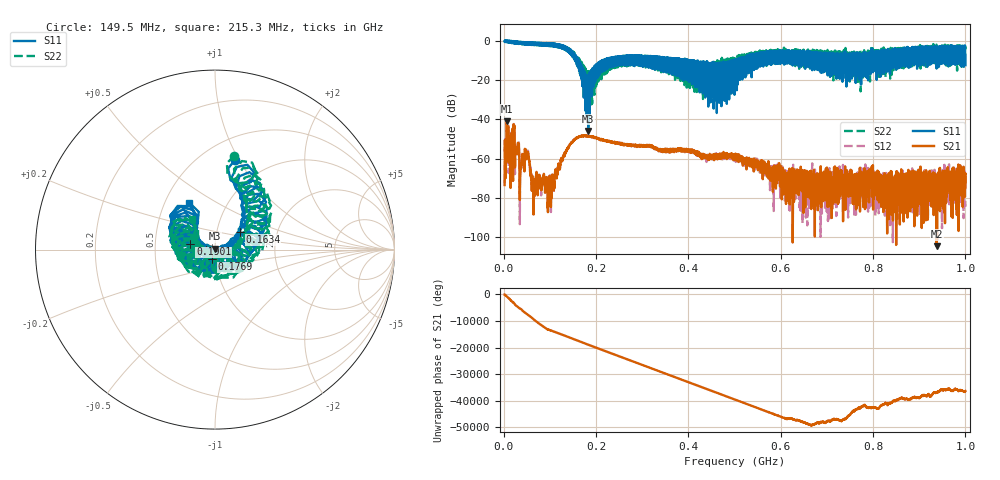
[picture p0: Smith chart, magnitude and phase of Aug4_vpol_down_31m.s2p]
!Keysight Technologies N9923A: A.12.45
!Date: Tuesday, 05 August 2025 20:55:05
!Timezone: (UTC+08:00) Kuala Lumpur, Singapore
!Model: N9923A
!Serial: MY61181427
!GPS Latitude:
!GPS Longitude:
!GPS TimeStamp: 0001-01-01 00:00:00Z
!GPS Seconds Since Last Read: 0
!CHECKSUM:0442938834
!Correction: S11(ON U)S21(ON U)S12(ON U)S22(ON U)
!S2P File: Measurements:S11,S21,S12,S22:
# Hz S DB R 50
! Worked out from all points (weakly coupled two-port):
!   4001 points, 2 MHz to 1 GHz, reference 50 ohm
!   highest |S21| = -41.05 dB at 6.74 MHz (marker M1); lowest = -104.7 dB at 937.6 MHz (marker M2)
!   lowest |S11| = -46.0 dB at 183.1 MHz (marker M3), VSWR 1.01, Z = 49.9 + j0.488 ohm
!   |S11| at or under -10 dB: 162.7 MHz to 213.8 MHz (51.05 MHz wide, 27.1 % of centre); 405.5 MHz to 410.4 MHz (4.935 MHz wide, 1.21 % of centre); 412.2 MHz to 494 MHz (81.78 MHz wide, 18 % of centre)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
!   |S22| runs from -35.0 to 0.1 dB; largest |S21 - S12| = 0.00094
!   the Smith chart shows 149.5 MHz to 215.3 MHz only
!   S11 on the Smith chart (normalised r, x): 149.5 MHz: 0.71, +0.96; 163.4 MHz: 1.29, +0.26; 176.9 MHz: 0.96, -0.10; 190.1 MHz: 0.76, +0.05; 215.3 MHz: 0.66, +0.38
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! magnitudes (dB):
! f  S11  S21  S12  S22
! 2 MHz  -0.1  -73.5  -72.3  -0.1
! 6.74 MHz  0.1  -41.1  -40.9  -0.1
! 20.96 MHz  -1.3  -45.3  -45.3  -1.4
! 38.68 MHz  -0.6  -63.2  -61.9  -0.8
! 50.9 MHz  -1.7  -58.0  -58.0  -1.6
! 64.38 MHz  -1.8  -86.7  -85.0  -1.8
! 98.81 MHz  -1.5  -69.2  -70.0  -1.7
! 149.5 MHz  -5.8  -51.4  -51.3  -5.4
! 163.4 MHz  -15.4  -48.8  -48.6  -12.9
! 168.4 MHz  -19.5  -48.5  -48.4  -16.0
! 176.9 MHz  -25.2  -48.6  -48.6  -25.4
! 183.1 MHz  -46.0  -48.6  -48.5  -22.2
! 190.1 MHz  -17.1  -49.1  -49.0  -23.7
! 215.3 MHz  -10.5  -50.2  -50.4  -13.5
! 334.8 MHz  -8.1  -55.8  -55.4  -9.9
! 445.1 MHz  -17.0  -58.6  -58.7  -22.8
! 501 MHz  -9.9  -59.9  -59.5  -9.0
! 613.8 MHz  -7.0  -70.2  -66.6  -4.5
! 667.4 MHz  -6.2  -77.6  -70.2  -6.4
! 833.8 MHz  -6.0  -74.1  -68.0  -13.6
! 937.6 MHz  -14.1  -104.7  -72.3  -2.4
! 1 GHz  -12.4  -67.9  -84.6  -4.0
